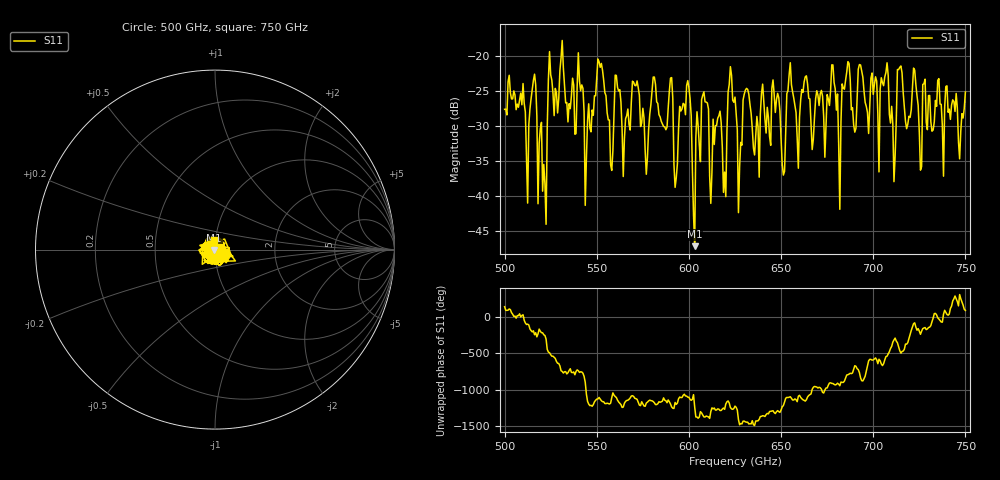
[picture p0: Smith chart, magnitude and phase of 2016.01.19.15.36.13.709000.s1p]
!Created with skrf (http://scikit-rf.org).
# GHz S RI R 50.0
!freq ReS11 ImS11
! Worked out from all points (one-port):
!   401 points, 500 GHz to 750 GHz, reference 50 ohm
!   lowest |S11| = -47.1 dB at 603.1 GHz (marker M1), VSWR 1.01, Z = 49.6 - j0.15 ohm
!   |S11| at or under -10 dB: start of sweep to end of sweep
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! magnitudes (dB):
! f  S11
! 500 GHz  -27.6
! 515.6 GHz  -23.4
! 521.9 GHz  -38.2
! 524.4 GHz  -19.3
! 531.2 GHz  -17.7
! 545 GHz  -29.3
! 551.2 GHz  -20.8
! 557.5 GHz  -35.5
! 562.5 GHz  -24.8
! 576.9 GHz  -36.9
! 590 GHz  -23.1
! 593.8 GHz  -35.3
! 600 GHz  -24.5
! 603.1 GHz  -47.1
! 608.1 GHz  -25.1
! 619.4 GHz  -36.5
! 621.9 GHz  -24.0
! 625 GHz  -25.8
! 627.5 GHz  -35.8
! 630.6 GHz  -24.8
! 646.9 GHz  -28.0
! 651.2 GHz  -37.0
! 656.2 GHz  -25.1
! 678.1 GHz  -21.2
! 681.2 GHz  -32.6
! 687.5 GHz  -23.3
! 718.8 GHz  -29.7
! 750 GHz  -25.1
